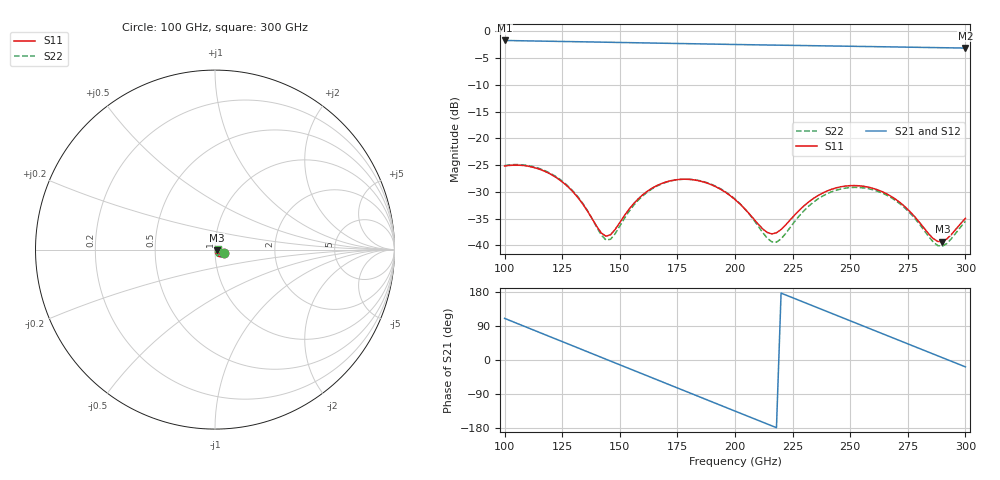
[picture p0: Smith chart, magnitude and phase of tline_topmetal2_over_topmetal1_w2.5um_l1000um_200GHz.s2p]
#  GHZ S DB R 50
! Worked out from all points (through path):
!   101 points, 100 GHz to 300 GHz, reference 50 ohm
!   highest |S21| = -1.72 dB at 100 GHz (marker M1); lowest = -3.1 dB at 300 GHz (marker M2)
!   group delay of S21, straight-line fit = 6.78 ps
!   lowest |S11| = -39.3 dB at 290 GHz (marker M3), VSWR 1.02, Z = 51 - j0.461 ohm
!   |S11| at or under -10 dB: start of sweep to end of sweep
!   |S22| runs from -40.1 to -24.9 dB; largest |S21 - S12| = 1.4e-13
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100  -25.17 -21.1  -1.72 109.8  -1.72 109.8  -25.08 -22.1
108  -25.06 -36.1  -1.78 90.2  -1.78 90.2  -24.95 -37.3
116  -25.90 -50.7  -1.84 70.6  -1.84 70.6  -25.77 -52.3
126  -28.47 -66.6  -1.92 46.1  -1.92 46.1  -28.32 -68.9
134  -32.31 -72.3  -1.97 26.5  -1.97 26.5  -32.18 -76.1
142  -37.68 -50.9  -2.03 6.9  -2.03 6.9  -38.08 -57.1
146  -37.99 -23.0  -2.06 -2.9  -2.06 -2.9  -38.84 -26.2
158  -31.29 0.0  -2.16 -32.2  -2.16 -32.2  -31.55 0.3
168  -28.45 -12.4  -2.23 -56.7  -2.23 -56.7  -28.53 -12.7
176  -27.66 -25.6  -2.29 -76.2  -2.29 -76.2  -27.67 -26.6
184  -27.89 -39.2  -2.35 -95.7  -2.35 -95.7  -27.84 -40.8
200  -31.42 -60.0  -2.47 -134.8  -2.47 -134.8  -31.33 -64.4
212  -36.90 -48.3  -2.56 -164.0  -2.56 -164.0  -37.57 -57.9
218  -37.63 -21.4  -2.59 -178.6  -2.59 -178.6  -39.38 -26.5
234  -31.23 -3.6  -2.70 142.4  -2.70 142.4  -31.93 -1.0
244  -29.23 -16.8  -2.76 118.1  -2.76 118.1  -29.67 -14.8
252  -28.81 -29.8  -2.82 98.6  -2.82 98.6  -29.15 -28.3
268  -30.89 -54.6  -2.92 59.6  -2.92 59.6  -31.13 -54.2
280  -35.65 -60.0  -3.01 30.4  -3.01 30.4  -35.98 -61.2
286  -38.70 -44.7  -3.05 15.9  -3.05 15.9  -39.34 -46.4
290  -39.27 -24.6  -3.08 6.1  -3.08 6.1  -40.13 -24.6
300  -34.94 1.3  -3.14 -18.1  -3.14 -18.1  -35.49 4.0
